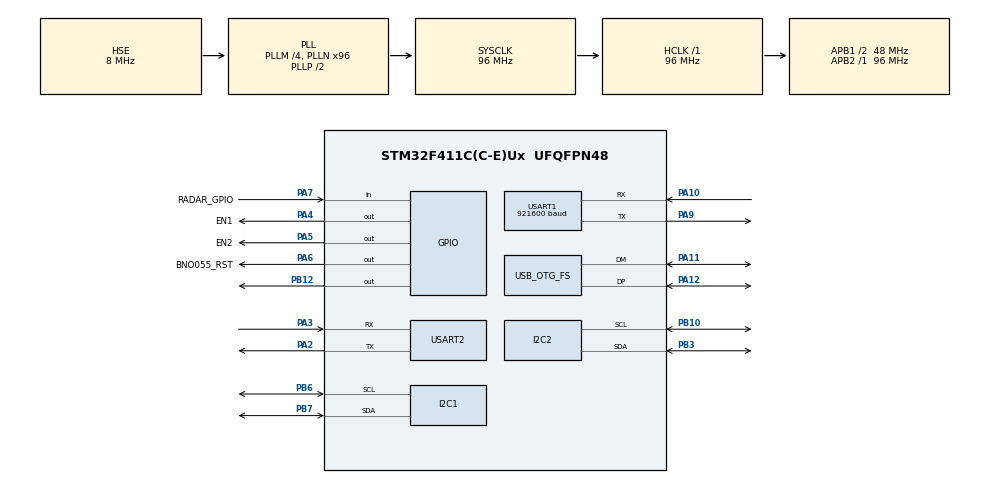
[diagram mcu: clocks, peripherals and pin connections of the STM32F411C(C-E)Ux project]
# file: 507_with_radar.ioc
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Mcu.Family=STM32F4
Mcu.Name=STM32F411C(C-E)Ux
Mcu.Package=UFQFPN48
NVIC.I2C1_ER_IRQn=true\:0\:0\:false\:false\:true\:true\:true\:true
NVIC.I2C1_EV_IRQn=true\:0\:0\:false\:false\:true\:true\:true\:true
NVIC.I2C2_ER_IRQn=true\:0\:0\:false\:false\:true\:true\:true\:true
NVIC.I2C2_EV_IRQn=true\:0\:0\:false\:false\:true\:true\:true\:true
NVIC.OTG_FS_IRQn=true\:0\:0\:false\:false\:true\:true\:true\:true
NVIC.PriorityGroup=NVIC_PRIORITYGROUP_4
NVIC.USART1_IRQn=true\:0\:0\:false\:false\:true\:true\:true\:true
NVIC.USART2_IRQn=true\:0\:0\:false\:false\:true\:true\:true\:true
PA10.Mode=Asynchronous
PA10.Signal=USART1_RX
PA11.Mode=Device_Only
PA11.Signal=USB_OTG_FS_DM
PA12.Mode=Device_Only
PA12.Signal=USB_OTG_FS_DP
PA13.Mode=Serial_Wire
PA13.Signal=SYS_JTMS-SWDIO
PA14.Mode=Serial_Wire
PA14.Signal=SYS_JTCK-SWCLK
PA2.Mode=Asynchronous
PA2.Signal=USART2_TX
PA3.Mode=Asynchronous
PA3.Signal=USART2_RX
PA4.GPIO_Label=EN1
PA4.Signal=GPIO_Output
PA5.GPIO_Label=EN2
PA5.Signal=GPIO_Output
PA6.GPIO_Label=BNO055_RST
PA6.Signal=GPIO_Output
PA7.GPIO_Label=RADAR_GPIO
PA7.Signal=GPIO_Input
PA9.Mode=Asynchronous
PA9.Signal=USART1_TX
PB10.Mode=I2C
PB10.Signal=I2C2_SCL
PB12.Signal=GPIO_Output
PB3.Mode=I2C
PB3.Signal=I2C2_SDA
PB6.Mode=I2C
PB6.Signal=I2C1_SCL
PB7.Mode=I2C
PB7.Signal=I2C1_SDA
PH0\ -\ OSC_IN.Mode=HSE-External-Oscillator
PH0\ -\ OSC_IN.Signal=RCC_OSC_IN
PH1\ -\ OSC_OUT.Mode=HSE-External-Oscillator
PH1\ -\ OSC_OUT.Signal=RCC_OSC_OUT
ProjectManager.HeapSize=0x200
ProjectManager.StackSize=0x400
ProjectManager.TargetToolchain=STM32CubeIDE
RCC.48MHZClocksFreq_Value=48000000
RCC.AHBFreq_Value=96000000
RCC.APB1CLKDivider=RCC_HCLK_DIV2
RCC.APB1Freq_Value=48000000
RCC.APB1TimFreq_Value=96000000
RCC.APB2Freq_Value=96000000
RCC.APB2TimFreq_Value=96000000
RCC.CortexFreq_Value=96000000
RCC.HCLKFreq_Value=96000000
RCC.HSE_VALUE=8000000
RCC.HSI_VALUE=16000000
RCC.LSE_VALUE=32768
RCC.PLLM=4
RCC.PLLN=96
RCC.SYSCLKFreq_VALUE=96000000
RCC.SYSCLKSource=RCC_SYSCLKSOURCE_PLLCLK
RCC.VCOOutputFreq_Value=192000000
USART1.BaudRate=921600
USART1.VirtualMode=VM_ASYNC
USART2.VirtualMode=VM_ASYNC
USB_DEVICE.CLASS_NAME_FS=CDC
USB_DEVICE.VirtualMode=Cdc
USB_DEVICE.VirtualModeFS=Cdc_FS
USB_OTG_FS.VirtualMode=Device_Only
VP_USB_DEVICE_VS_USB_DEVICE_CDC_FS.Mode=CDC_FS
board=custom

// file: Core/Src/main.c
/* USER CODE BEGIN Header */
/**
  ******************************************************************************
  * @file           : main.c
  * @brief          : Main program body
  ******************************************************************************
  * @attention
  *
  * Copyright (c) 2026 STMicroelectronics.
  * All rights reserved.
  *
  * This software is licensed under terms that can be found in the LICENSE file
  * in the root directory of this software component.
  * If no LICENSE file comes with this software, it is provided AS-IS.
  *
  ******************************************************************************
  */
/* USER CODE END Header */
#include "main.h"
#include "usb_device.h"
#include "usbd_cdc_if.h"
#include "radar.h"
#include <string.h>
#include "haptic.h"
#include "imu.h"

I2C_HandleTypeDef hi2c1;
I2C_HandleTypeDef hi2c2;

UART_HandleTypeDef huart1;
UART_HandleTypeDef huart2;

void SystemClock_Config(void);
static void MX_GPIO_Init(void);
static void MX_USART2_UART_Init(void);
static void MX_I2C1_Init(void);
static void MX_I2C2_Init(void);
static void MX_USART1_UART_Init(void);

/* USER CODE BEGIN 0 */
//#define DRV2605_ADDR     (0x5A << 1)
//#define DRV2605_REG_MODE 0x01
//#define DRV2605_REG_RTP  0x02

void debug_print(char *msg)
{
	 CDC_Transmit_FS((uint8_t *)msg, strlen(msg));
}

/* USER CODE END 0 */

int main(void)
{

  /* MCU Configuration--------------------------------------------------------*/

  /* Reset of all peripherals, Initializes the Flash interface and the Systick. */
  HAL_Init();

  /* Configure the system clock */
  SystemClock_Config();

  /* Initialize all configured peripherals */
  MX_GPIO_Init();
  MX_USART2_UART_Init();
  MX_I2C1_Init();
  MX_I2C2_Init();
  MX_USART1_UART_Init();
  MX_USB_DEVICE_Init();
  HAL_Delay(3000);
  /* USER CODE BEGIN 2 */
  debug_print("STM32 started\r\n");
  HAL_GPIO_WritePin(GPIOA, EN1_Pin, GPIO_PIN_SET);
  HAL_GPIO_WritePin(GPIOA, EN2_Pin, GPIO_PIN_SET);
  HAL_Delay(10);
  Haptic_Init(&hi2c1, &hi2c2);
  HAL_GPIO_WritePin(GPIOA, BNO055_RST_Pin, GPIO_PIN_SET);
  HAL_Delay(700);
  IMU_Init(&hi2c1);
  Radar_Init(&huart2, &huart1);
  Radar_SendConfig();
  /* IMU test after radar config */

  IMU_Update();

//  uint8_t test_byte;
//  HAL_Delay(500);
//  debug_print("CHECKPOINT A\r\n");
//  HAL_Delay(500);
//
//  if (HAL_UART_Receive(&huart1, &test_byte, 1, 2000) == HAL_OK)
//  {
//      debug_print("FIRST DATA BYTE RECEIVED\r\n");
//  }
//  else
//  {
//      debug_print("NO FIRST DATA BYTE\r\n");
//  }
//  debug_print("Testing motors\r\n");
////  Haptic_Yippee1();
//  HAL_Delay(1000);
//  Haptic_Off();
//  debug_print("Motor test done\r\n");
  /* USER CODE END 2 */

  /* Infinite loop */
  /* USER CODE BEGIN WHILE */
  while (1)
  {
      static uint8_t last_stable_state = 255;

      RadarResult_t radar_state = Radar_Update();

      IMU_Update();
      uint8_t ax_stable = IMU_AxStableFor10s();

      // Print only when stability changes
      if (ax_stable != last_stable_state)
      {
          if (ax_stable)
          {
              debug_print("IMU STABLE\r\n");
          }
          else
          {
              debug_print("IMU NOT STABLE\r\n");
          }

          last_stable_state = ax_stable;
      }

      if (radar_state == RADAR_YIPPEE_1)
      {
          debug_print("YIPPEE 1\r\n");

          if (ax_stable)
          {
              debug_print("PATTERN MODE\r\n");
              Haptic_LongWarningPattern(200);
          }
          else
          {
              debug_print("CONTINUOUS MODE\r\n");
              Haptic_PlayForMs(200, 3000);
          }
      }
      else if (radar_state == RADAR_YIPPEE_2)
      {
          debug_print("YIPPEE 2\r\n");

          if (ax_stable)
          {
              debug_print("PATTERN MODE\r\n");
              Haptic_LongWarningPattern(180);
          }
          else
          {
              debug_print("CONTINUOUS MODE\r\n");
              Haptic_PlayForMs(180, 3000);
          }
      }

      HAL_Delay(10);
  }
  /* USER CODE END WHILE */

}

void SystemClock_Config(void)
{
  RCC_OscInitTypeDef RCC_OscInitStruct = {0};
  RCC_ClkInitTypeDef RCC_ClkInitStruct = {0};

  /** Configure the main internal regulator output voltage
  */
  __HAL_RCC_PWR_CLK_ENABLE();
  __HAL_PWR_VOLTAGESCALING_CONFIG(PWR_REGULATOR_VOLTAGE_SCALE1);

  /** Initializes the RCC Oscillators according to the specified parameters
  * in the RCC_OscInitTypeDef structure.
  */
  RCC_OscInitStruct.OscillatorType = RCC_OSCILLATORTYPE_HSE;
  RCC_OscInitStruct.HSEState = RCC_HSE_ON;
  RCC_OscInitStruct.PLL.PLLState = RCC_PLL_ON;
  RCC_OscInitStruct.PLL.PLLSource = RCC_PLLSOURCE_HSE;
  RCC_OscInitStruct.PLL.PLLM = 4;
  RCC_OscInitStruct.PLL.PLLN = 96;
  RCC_OscInitStruct.PLL.PLLP = RCC_PLLP_DIV2;
  RCC_OscInitStruct.PLL.PLLQ = 4;
  if (HAL_RCC_OscConfig(&RCC_OscInitStruct) != HAL_OK)
  {
    Error_Handler();
  }

  /** Initializes the CPU, AHB and APB buses clocks
  */
  RCC_ClkInitStruct.ClockType = RCC_CLOCKTYPE_HCLK|RCC_CLOCKTYPE_SYSCLK
                              |RCC_CLOCKTYPE_PCLK1|RCC_CLOCKTYPE_PCLK2;
  RCC_ClkInitStruct.SYSCLKSource = RCC_SYSCLKSOURCE_PLLCLK;
  RCC_ClkInitStruct.AHBCLKDivider = RCC_SYSCLK_DIV1;
  RCC_ClkInitStruct.APB1CLKDivider = RCC_HCLK_DIV2;
  RCC_ClkInitStruct.APB2CLKDivider = RCC_HCLK_DIV1;

  if (HAL_RCC_ClockConfig(&RCC_ClkInitStruct, FLASH_LATENCY_3) != HAL_OK)
  {
    Error_Handler();
  }
}

static void MX_I2C1_Init(void)
{

  hi2c1.Instance = I2C1;
  hi2c1.Init.ClockSpeed = 100000;
  hi2c1.Init.DutyCycle = I2C_DUTYCYCLE_2;
  hi2c1.Init.OwnAddress1 = 0;
  hi2c1.Init.AddressingMode = I2C_ADDRESSINGMODE_7BIT;
  hi2c1.Init.DualAddressMode = I2C_DUALADDRESS_DISABLE;
  hi2c1.Init.OwnAddress2 = 0;
  hi2c1.Init.GeneralCallMode = I2C_GENERALCALL_DISABLE;
  hi2c1.Init.NoStretchMode = I2C_NOSTRETCH_DISABLE;
  if (HAL_I2C_Init(&hi2c1) != HAL_OK)
  {
    Error_Handler();
  }

}

static void MX_I2C2_Init(void)
{

  hi2c2.Instance = I2C2;
  hi2c2.Init.ClockSpeed = 100000;
  hi2c2.Init.DutyCycle = I2C_DUTYCYCLE_2;
  hi2c2.Init.OwnAddress1 = 0;
  hi2c2.Init.AddressingMode = I2C_ADDRESSINGMODE_7BIT;
  hi2c2.Init.DualAddressMode = I2C_DUALADDRESS_DISABLE;
  hi2c2.Init.OwnAddress2 = 0;
  hi2c2.Init.GeneralCallMode = I2C_GENERALCALL_DISABLE;
  hi2c2.Init.NoStretchMode = I2C_NOSTRETCH_DISABLE;
  if (HAL_I2C_Init(&hi2c2) != HAL_OK)
  {
    Error_Handler();
  }

}

static void MX_USART1_UART_Init(void)
{

  huart1.Instance = USART1;
  huart1.Init.BaudRate = 921600;
  huart1.Init.WordLength = UART_WORDLENGTH_8B;
  huart1.Init.StopBits = UART_STOPBITS_1;
  huart1.Init.Parity = UART_PARITY_NONE;
  huart1.Init.Mode = UART_MODE_TX_RX;
  huart1.Init.HwFlowCtl = UART_HWCONTROL_NONE;
  huart1.Init.OverSampling = UART_OVERSAMPLING_16;
  if (HAL_UART_Init(&huart1) != HAL_OK)
  {
    Error_Handler();
  }

}

static void MX_USART2_UART_Init(void)
{

  huart2.Instance = USART2;
  huart2.Init.BaudRate = 115200;
  huart2.Init.WordLength = UART_WORDLENGTH_8B;
  huart2.Init.StopBits = UART_STOPBITS_1;
  huart2.Init.Parity = UART_PARITY_NONE;
  huart2.Init.Mode = UART_MODE_TX_RX;
  huart2.Init.HwFlowCtl = UART_HWCONTROL_NONE;
  huart2.Init.OverSampling = UART_OVERSAMPLING_16;
  if (HAL_UART_Init(&huart2) != HAL_OK)
  {
    Error_Handler();
  }

}

static void MX_GPIO_Init(void)
{
  GPIO_InitTypeDef GPIO_InitStruct = {0};

  /* GPIO Ports Clock Enable */
  __HAL_RCC_GPIOH_CLK_ENABLE();
  __HAL_RCC_GPIOA_CLK_ENABLE();
  __HAL_RCC_GPIOB_CLK_ENABLE();

  /*Configure GPIO pin Output Level */
  HAL_GPIO_WritePin(GPIOA, EN1_Pin|EN2_Pin|BNO055_RST_Pin, GPIO_PIN_RESET);

  /*Configure GPIO pin Output Level */
  HAL_GPIO_WritePin(GPIOB, GPIO_PIN_12, GPIO_PIN_RESET);

  /*Configure GPIO pins : EN1_Pin EN2_Pin BNO055_RST_Pin */
  GPIO_InitStruct.Pin = EN1_Pin|EN2_Pin|BNO055_RST_Pin;
  GPIO_InitStruct.Mode = GPIO_MODE_OUTPUT_PP;
  GPIO_InitStruct.Pull = GPIO_NOPULL;
  GPIO_InitStruct.Speed = GPIO_SPEED_FREQ_LOW;
  HAL_GPIO_Init(GPIOA, &GPIO_InitStruct);

  /*Configure GPIO pin : RADAR_GPIO_Pin */
  GPIO_InitStruct.Pin = RADAR_GPIO_Pin;
  GPIO_InitStruct.Mode = GPIO_MODE_INPUT;
  GPIO_InitStruct.Pull = GPIO_NOPULL;
  HAL_GPIO_Init(RADAR_GPIO_GPIO_Port, &GPIO_InitStruct);

  /*Configure GPIO pin : PB12 */
  GPIO_InitStruct.Pin = GPIO_PIN_12;
  GPIO_InitStruct.Mode = GPIO_MODE_OUTPUT_PP;
  GPIO_InitStruct.Pull = GPIO_NOPULL;
  GPIO_InitStruct.Speed = GPIO_SPEED_FREQ_LOW;
  HAL_GPIO_Init(GPIOB, &GPIO_InitStruct);

}

void Error_Handler(void)
{
  __disable_irq();
  while (1)
  {
  }
}
